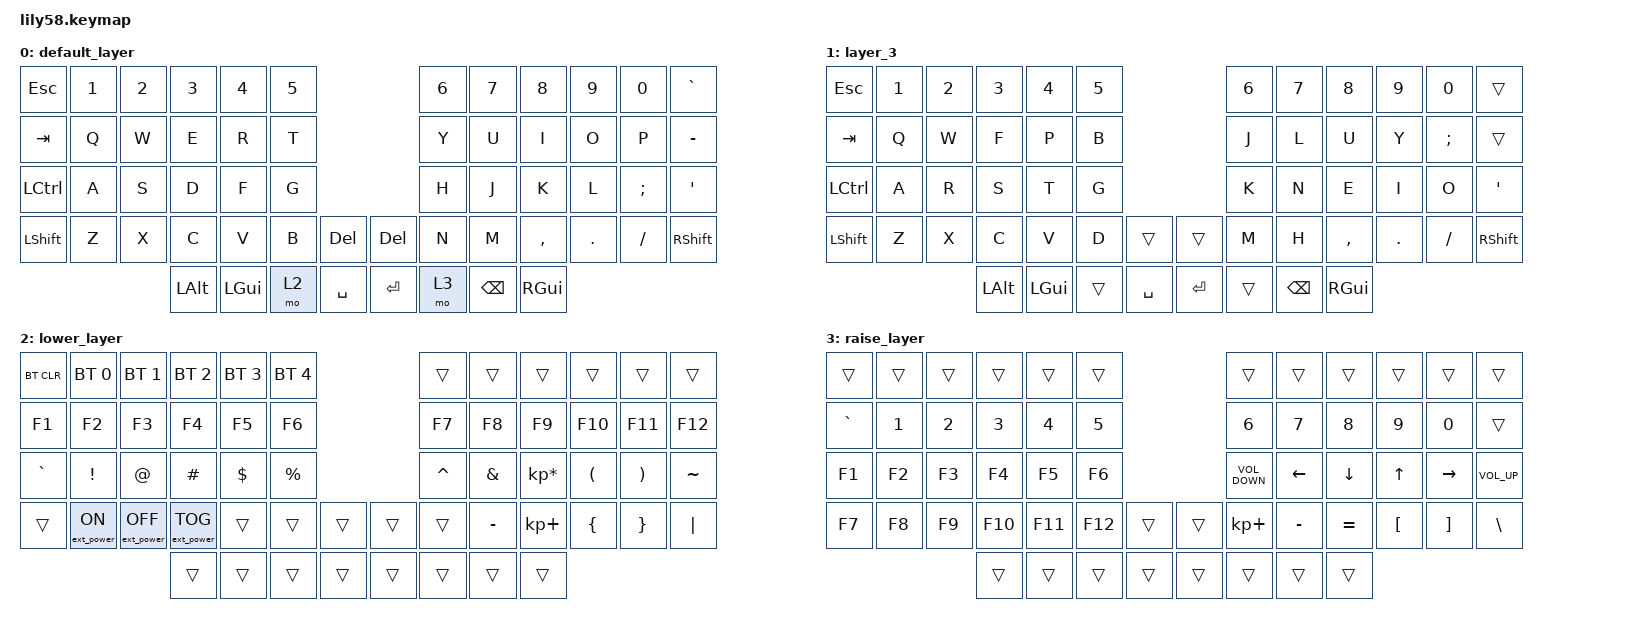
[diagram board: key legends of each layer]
/*
 * Copyright (c) 2020 The ZMK Contributors
 *
 * SPDX-License-Identifier: MIT
 */

#include <behaviors.dtsi>
#include <dt-bindings/zmk/bt.h>
#include <dt-bindings/zmk/ext_power.h>
#include <dt-bindings/zmk/keys.h>

/ {
    combos {
        compatible = "zmk,combos";

        layerkeys {
            bindings = <&tog 1>;
            key-positions = <52 55>;
        };
    };

    keymap {
        compatible = "zmk,keymap";

        default_layer {
            // ------------------------------------------------------------------------------------------------------------
            // |  ESC  |  1  |  2  |  3   |  4   |  5   |                   |  6   |  7    |  8    |  9   |   0   |   `   |
            // |  TAB  |  Q  |  W  |  E   |  R   |  T   |                   |  Y   |  U    |  I    |  O   |   P   |   -   |
            // |  CTRL |  A  |  S  |  D   |  F   |  G   |                   |  H   |  J    |  K    |  L   |   ;   |   '   |
            // | SHIFT |  Z  |  X  |  C   |  V   |  B   |   "["  |  |  "]"  |  N   |  M    |  ,    |  .   |   /   | SHIFT |
            //                     | ALT  | GUI  | LOWER|  SPACE |  | ENTER | RAISE| BSPC  | GUI   |

            bindings = <
&kp ESC    &kp N1  &kp N2  &kp N3    &kp N4    &kp N5                        &kp N6  &kp N7    &kp N8     &kp N9   &kp N0    &kp GRAVE
&kp TAB    &kp Q   &kp W   &kp E     &kp R     &kp T                         &kp Y   &kp U     &kp I      &kp O    &kp P     &kp MINUS
&kp LCTRL  &kp A   &kp S   &kp D     &kp F     &kp G                         &kp H   &kp J     &kp K      &kp L    &kp SEMI  &kp SQT
&kp LSHFT  &kp Z   &kp X   &kp C     &kp V     &kp B   &kp DEL      &kp DEL  &kp N   &kp M     &kp COMMA  &kp DOT  &kp FSLH  &kp RSHFT
                           &kp LALT  &kp LGUI  &mo 2   &kp SPACE    &kp RET  &mo 3   &kp BSPC  &kp RGUI
            >;
        };

        layer_3 {
            bindings = <
&kp ESC    &kp N1  &kp N2  &kp N3    &kp N4    &kp N5                          &kp N6  &kp N7    &kp N8     &kp N9   &kp N0    &trans
&kp TAB    &kp Q   &kp W   &kp F     &kp P     &kp B                           &kp J   &kp L     &kp U      &kp Y    &kp SEMI  &trans
&kp LCTRL  &kp A   &kp R   &kp S     &kp T     &kp G                           &kp K   &kp N     &kp E      &kp I    &kp O     &kp APOS
&kp LSHFT  &kp Z   &kp X   &kp C     &kp V     &kp D   &trans       &trans     &kp M   &kp H     &kp COMMA  &kp DOT  &kp FSLH  &kp RSHFT
                           &kp LALT  &kp LGUI  &trans  &kp SPACE    &kp ENTER  &trans  &kp BSPC  &kp RGUI
            >;
        };

        lower_layer {
            // ------------------------------------------------------------------------------------------------------------
            // | BTCLR | BT1 | BT2 |  BT3 |  BT4 |  BT5 |                   |      |       |       |      |       |       |
            // |  F1   |  F2 |  F3 |  F4  |  F5  |  F6  |                   |  F7  |  F8   |  F9   |  F10 |  F11  |  F12  |
            // |   `   |  !  |  @  |  #   |  $   |  %   |                   |  ^   |  &    |  *    |  (   |   )   |   ~   |
            // |       |     |     |      |      |      |        |  |       |      |  _    |  +    |  {   |   }   |  "|"  |
            //                     |      |      |      |        |  |       |      |       |       |

            bindings = <
&bt BT_CLR  &bt BT_SEL 0      &bt BT_SEL 1       &bt BT_SEL 2       &bt BT_SEL 3  &bt BT_SEL 4                    &trans     &trans     &trans           &trans    &trans    &trans
&kp F1      &kp F2            &kp F3             &kp F4             &kp F5        &kp F6                          &kp F7     &kp F8     &kp F9           &kp F10   &kp F11   &kp F12
&kp GRAVE   &kp EXCL          &kp AT             &kp HASH           &kp DOLLAR    &kp PRCNT                       &kp CARET  &kp AMPS   &kp KP_MULTIPLY  &kp LPAR  &kp RPAR  &kp TILDE
&trans      &ext_power EP_ON  &ext_power EP_OFF  &ext_power EP_TOG  &trans        &trans        &trans    &trans  &trans     &kp MINUS  &kp KP_PLUS      &kp LBRC  &kp RBRC  &kp PIPE
                                                 &trans             &trans        &trans        &trans    &trans  &trans     &trans     &trans
            >;
        };

        raise_layer {
            // ------------------------------------------------------------------------------------------------------------
            // |       |     |     |      |      |      |                   |      |       |       |      |       |       |
            // |   `   |  1  |  2  |  3   |  4   |  5   |                   |  6   |   7   |   8   |  9   |   0   |       |
            // |   F1  |  F2 |  F3 |  F4  |  F5  |  F6  |                   |      |   <-  |   v   |  ^   |  ->   |       |
            // |   F7  |  F8 |  F9 |  F10 |  F11 |  F12 |        |  |       |  +   |   -   |   =   |  [   |   ]   |   \   |
            //                     |      |      |      |        |  |       |      |       |       |

            bindings = <
&trans     &trans  &trans  &trans   &trans   &trans                     &trans             &trans     &trans     &trans    &trans     &trans
&kp GRAVE  &kp N1  &kp N2  &kp N3   &kp N4   &kp N5                     &kp N6             &kp N7     &kp N8     &kp N9    &kp N0     &trans
&kp F1     &kp F2  &kp F3  &kp F4   &kp F5   &kp F6                     &kp C_VOLUME_DOWN  &kp LEFT   &kp DOWN   &kp UP    &kp RIGHT  &kp C_VOLUME_UP
&kp F7     &kp F8  &kp F9  &kp F10  &kp F11  &kp F12  &trans    &trans  &kp KP_PLUS        &kp MINUS  &kp EQUAL  &kp LBKT  &kp RBKT   &kp BSLH
                           &trans   &trans   &trans   &trans    &trans  &trans             &trans     &trans
            >;
        };
    };

    conditional_layers { compatible = "zmk,conditional-layers"; };
};
